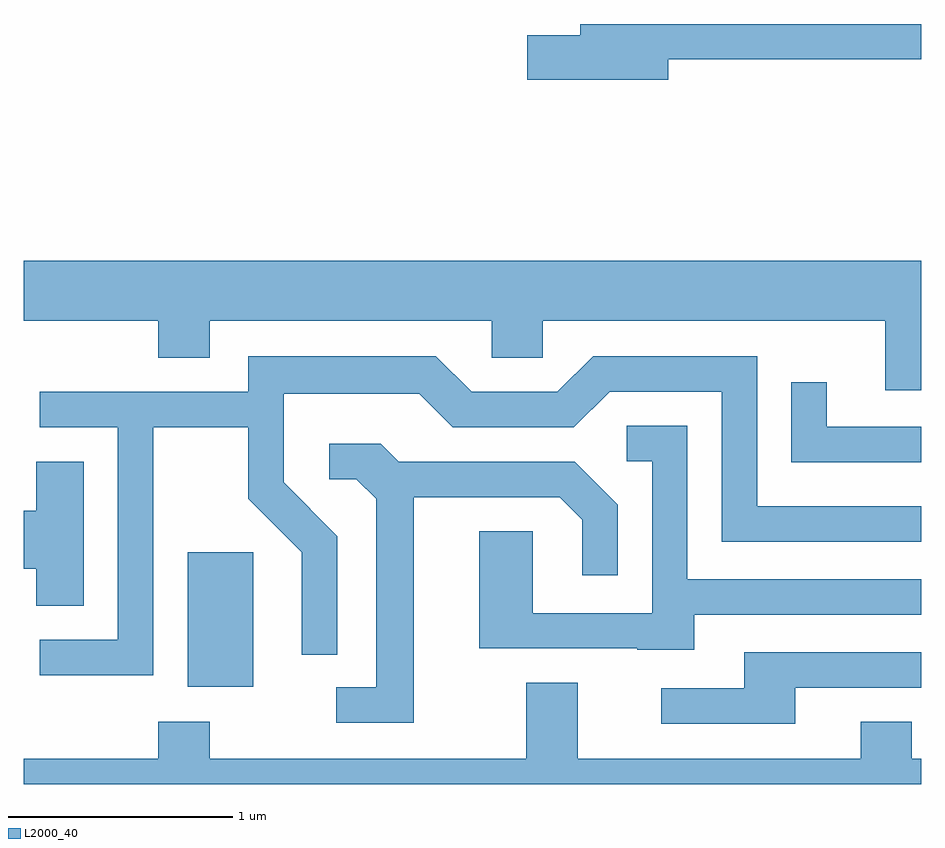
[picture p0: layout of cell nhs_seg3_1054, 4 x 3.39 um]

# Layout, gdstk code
import gdstk
lib = gdstk.Library(unit=1e-6, precision=1e-09)
def R(c, l, rs):  # rectangles x0, y0, x1, y1
    for r in rs: c.add(gdstk.rectangle(r[:2], r[2:], *l))
def P(c, l, *ps):  # polygons
    for p in ps: c.add(gdstk.Polygon(p, *l))
L2000_40 = (2000, 40)

nhs_seg3_1054 = lib.new_cell('nhs_seg3_1054')
R(nhs_seg3_1054, L2000_40, [(216.341,1184.326,216.634,1184.924)])
P(nhs_seg3_1054, L2000_40, [(218.484,1187.121),(219.611,1187.121),(219.611,1187.279),(218.091,1187.279),(218.091,1187.229),(217.856,1187.229),(217.856,1187.031),(218.484,1187.031)],
  [(219.611,1186.224),(215.611,1186.224),(215.611,1185.956),(216.211,1185.956),(216.211,1185.791),(216.439,1185.791),(216.439,1185.956),(217.696,1185.956),(217.696,1185.791),(217.924,1185.791),(217.924,1185.956),(219.451,1185.956),(219.451,1185.646),(219.611,1185.646)],
  [(216.189,1185.481),(216.611,1185.481),(216.611,1185.164),(216.851,1184.924),(216.851,1184.468),(217.009,1184.468),(217.009,1184.997),(216.769,1185.237),(216.769,1185.631),(217.374,1185.631),(217.524,1185.481),(218.062,1185.481),(218.222,1185.641),(218.721,1185.641),(218.721,1184.971),(219.611,1184.971),(219.611,1185.129),(218.879,1185.129),(218.879,1185.799),(218.149,1185.799),(217.989,1185.639),(217.607,1185.639),(217.447,1185.799),(216.611,1185.799),(216.611,1185.639),(215.683,1185.639),(215.683,1185.481),(216.031,1185.481),(216.031,1184.534),(215.683,1184.534),(215.683,1184.376),(216.189,1184.376)],
  [(219.611,1185.484),(219.189,1185.484),(219.189,1185.683),(219.031,1185.683),(219.031,1185.326),(219.611,1185.326)],
  [(218.599,1184.646),(219.611,1184.646),(219.611,1184.804),(218.569,1184.804),(218.569,1185.489),(218.298,1185.489),(218.298,1185.331),(218.411,1185.331),(218.411,1184.654),(217.879,1184.654),(217.879,1185.019),(217.641,1185.019),(217.641,1184.496),(218.345,1184.496),(218.345,1184.491),(218.599,1184.491)],
  [(217.349,1185.171),(217.999,1185.171),(218.101,1185.069),(218.101,1184.823),(218.259,1184.823),(218.259,1185.137),(218.067,1185.329),(217.282,1185.329),(217.202,1185.409),(216.973,1185.409),(216.973,1185.251),(217.094,1185.251),(217.181,1185.164),(217.181,1184.324),(217.003,1184.324),(217.003,1184.166),(217.349,1184.166)],
  [(215.879,1185.329),(215.666,1185.329),(215.666,1185.109),(215.611,1185.109),(215.611,1184.851),(215.666,1184.851),(215.666,1184.686),(215.879,1184.686)],
  [(219.049,1184.321),(219.611,1184.321),(219.611,1184.479),(218.821,1184.479),(218.821,1184.319),(218.453,1184.319),(218.453,1184.161),(219.049,1184.161)],
  [(219.611,1184.004),(219.569,1184.004),(219.569,1184.169),(219.341,1184.169),(219.341,1184.004),(218.079,1184.004),(218.079,1184.344),(217.851,1184.344),(217.851,1184.004),(216.439,1184.004),(216.439,1184.169),(216.211,1184.169),(216.211,1184.004),(215.611,1184.004),(215.611,1183.892),(219.611,1183.892)])

lib.write_gds('nhs_seg3_1054.gds')
